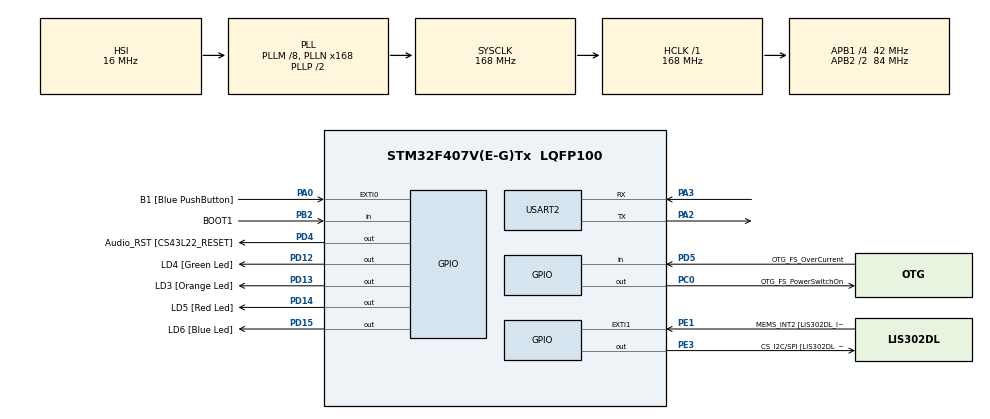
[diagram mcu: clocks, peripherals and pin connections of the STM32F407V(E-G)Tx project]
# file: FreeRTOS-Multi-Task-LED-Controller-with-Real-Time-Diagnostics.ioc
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Mcu.Family=STM32F4
Mcu.Name=STM32F407V(E-G)Tx
Mcu.Package=LQFP100
NVIC.PriorityGroup=NVIC_PRIORITYGROUP_4
NVIC.TIM6_DAC_IRQn=true\:0\:0\:false\:false\:true\:false\:true\:true
NVIC.TimeBase=TIM6_DAC_IRQn
NVIC.TimeBaseIP=TIM6
NVIC.USART2_IRQn=true\:6\:0\:true\:false\:true\:true\:true\:true
PA0-WKUP.GPIO_Label=B1 [Blue PushButton]
PA0-WKUP.Signal=GPXTI0
PA10.GPIO_Label=OTG_FS_ID
PA10.GPIO_Mode=GPIO_MODE_AF_PP
PA10.GPIO_PuPd=GPIO_NOPULL
PA10.GPIO_Speed=GPIO_SPEED_FREQ_LOW
PA10.Signal=USB_OTG_FS_ID
PA11.GPIO_Label=OTG_FS_DM
PA11.GPIO_Mode=GPIO_MODE_AF_PP
PA11.GPIO_PuPd=GPIO_NOPULL
PA11.GPIO_Speed=GPIO_SPEED_FREQ_LOW
PA11.Signal=USB_OTG_FS_DM
PA12.GPIO_Label=OTG_FS_DP
PA12.GPIO_Mode=GPIO_MODE_AF_PP
PA12.GPIO_PuPd=GPIO_NOPULL
PA12.GPIO_Speed=GPIO_SPEED_FREQ_LOW
PA12.Signal=USB_OTG_FS_DP
PA13.GPIO_Label=SWDIO
PA13.Signal=SYS_JTMS-SWDIO
PA14.GPIO_Label=SWCLK
PA14.Signal=SYS_JTCK-SWCLK
PA2.Mode=Asynchronous
PA2.Signal=USART2_TX
PA3.Mode=Asynchronous
PA3.Signal=USART2_RX
PA4.GPIO_Label=I2S3_WS [CS43L22_LRCK]
PA4.GPIO_Mode=GPIO_MODE_AF_PP
PA4.GPIO_PuPd=GPIO_NOPULL
PA4.GPIO_Speed=GPIO_SPEED_FREQ_LOW
PA4.Signal=I2S3_WS
PA5.GPIO_Label=SPI1_SCK [LIS302DL_SCL/SPC]
PA5.GPIO_Mode=GPIO_MODE_AF_PP
PA5.GPIO_PuPd=GPIO_NOPULL
PA5.GPIO_Speed=GPIO_SPEED_FREQ_LOW
PA5.Signal=SPI1_SCK
PA6.GPIO_Label=SPI1_MISO [LIS302DL_SDO]
PA6.GPIO_Mode=GPIO_MODE_AF_PP
PA6.GPIO_PuPd=GPIO_NOPULL
PA6.GPIO_Speed=GPIO_SPEED_FREQ_LOW
PA6.Signal=SPI1_MISO
PA7.GPIO_Label=SPI1_MOSI [LIS302DL_SDA/SDI/SDO]
PA7.GPIO_Mode=GPIO_MODE_AF_PP
PA7.GPIO_PuPd=GPIO_NOPULL
PA7.GPIO_Speed=GPIO_SPEED_FREQ_LOW
PA7.Signal=SPI1_MOSI
PA9.GPIO_Label=VBUS_FS
PA9.GPIO_Mode=GPIO_MODE_INPUT
PA9.GPIO_PuPd=GPIO_NOPULL
PA9.Signal=USB_OTG_FS_VBUS
PB10.GPIO_Label=CLK_IN [MP45DT02_CLK]
PB10.GPIO_Mode=GPIO_MODE_AF_PP
PB10.GPIO_PuPd=GPIO_NOPULL
PB10.GPIO_Speed=GPIO_SPEED_FREQ_LOW
PB10.Signal=I2S2_CK
PB2.GPIO_Label=BOOT1
PB2.GPIO_Mode=GPIO_MODE_INPUT
PB2.GPIO_PuPd=GPIO_NOPULL
PB2.Signal=GPIO_Input
PB3.GPIO_Label=SWO
PB3.Signal=SYS_JTDO-SWO
PB6.GPIO_Label=Audio_SCL [CS43L22_SCL]
PB6.GPIO_Mode=GPIO_MODE_AF_OD
PB6.GPIO_PuPd=GPIO_NOPULL
PB6.GPIO_Speed=GPIO_SPEED_FREQ_LOW
PB6.Signal=I2C1_SCL
PB9.GPIO_Label=Audio_SDA [CS43L22_SDA]
PB9.GPIO_Mode=GPIO_MODE_AF_OD
PB9.GPIO_PuPd=GPIO_NOPULL
PB9.GPIO_Speed=GPIO_SPEED_FREQ_LOW
PB9.Signal=I2C1_SDA
PC0.GPIO_Label=OTG_FS_PowerSwitchOn
PC0.GPIO_PuPd=GPIO_NOPULL
PC0.GPIO_Speed=GPIO_SPEED_FREQ_LOW
PC0.PinState=GPIO_PIN_SET
PC0.Signal=GPIO_Output
PC10.GPIO_Label=I2S3_SCK [CS43L22_SCLK]
PC10.GPIO_Mode=GPIO_MODE_AF_PP
PC10.GPIO_PuPd=GPIO_NOPULL
PC10.GPIO_Speed=GPIO_SPEED_FREQ_LOW
PC10.Signal=I2S3_CK
PC12.GPIO_Label=I2S3_SD [CS43L22_SDIN]
PC12.GPIO_Mode=GPIO_MODE_AF_PP
PC12.GPIO_PuPd=GPIO_NOPULL
PC12.GPIO_Speed=GPIO_SPEED_FREQ_LOW
PC12.Signal=I2S3_SD
PC14-OSC32_IN.GPIO_Label=PC14-OSC32_IN
PC14-OSC32_IN.Signal=RCC_OSC32_IN
PC15-OSC32_OUT.GPIO_Label=PC15-OSC32_OUT
PC15-OSC32_OUT.Signal=RCC_OSC32_OUT
PC3.GPIO_Label=PDM_OUT [MP45DT02_DOUT]
PC3.GPIO_Mode=GPIO_MODE_AF_PP
PC3.GPIO_PuPd=GPIO_NOPULL
PC3.GPIO_Speed=GPIO_SPEED_FREQ_LOW
PC3.Signal=I2S2_SD
PC7.GPIO_Label=I2S3_MCK [CS43L22_MCLK]
PC7.GPIO_Mode=GPIO_MODE_AF_PP
PC7.GPIO_PuPd=GPIO_NOPULL
PC7.GPIO_Speed=GPIO_SPEED_FREQ_LOW
PC7.Signal=I2S3_MCK
PD12.GPIO_Label=LD4 [Green Led]
PD12.GPIO_PuPd=GPIO_NOPULL
PD12.GPIO_Speed=GPIO_SPEED_FREQ_LOW
PD12.Signal=GPIO_Output
PD13.GPIO_Label=LD3 [Orange Led]
PD13.GPIO_PuPd=GPIO_NOPULL
PD13.GPIO_Speed=GPIO_SPEED_FREQ_LOW
PD13.Signal=GPIO_Output
PD14.GPIO_Label=LD5 [Red Led]
PD14.GPIO_PuPd=GPIO_NOPULL
PD14.GPIO_Speed=GPIO_SPEED_FREQ_LOW
PD14.Signal=GPIO_Output
PD15.GPIO_Label=LD6 [Blue Led]
PD15.GPIO_PuPd=GPIO_NOPULL
PD15.GPIO_Speed=GPIO_SPEED_FREQ_LOW
PD15.Signal=GPIO_Output
PD4.GPIO_Label=Audio_RST [CS43L22_RESET]
PD4.GPIO_PuPd=GPIO_NOPULL
PD4.GPIO_Speed=GPIO_SPEED_FREQ_LOW
PD4.Signal=GPIO_Output
PD5.GPIO_Label=OTG_FS_OverCurrent
PD5.GPIO_Mode=GPIO_MODE_INPUT
PD5.GPIO_PuPd=GPIO_NOPULL
PD5.Signal=GPIO_Input
PE1.GPIO_Label=MEMS_INT2 [LIS302DL_INT2]
PE1.GPIO_ModeDefaultEXTI=GPIO_MODE_EVT_RISING
PE1.GPIO_PuPd=GPIO_NOPULL
PE1.Signal=GPXTI1
PE3.GPIO_Label=CS_I2C/SPI [LIS302DL_CS_I2C/SPI]
PE3.GPIO_PuPd=GPIO_NOPULL
PE3.GPIO_Speed=GPIO_SPEED_FREQ_LOW
PE3.Signal=GPIO_Output
PH0-OSC_IN.GPIO_Label=PH0-OSC_IN
PH0-OSC_IN.Signal=RCC_OSC_IN
PH1-OSC_OUT.GPIO_Label=PH1-OSC_OUT
PH1-OSC_OUT.Signal=RCC_OSC_OUT
ProjectManager.HeapSize=0x200
ProjectManager.StackSize=0x400
ProjectManager.TargetToolchain=STM32CubeIDE
RCC.48MHZClocksFreq_Value=48000000
RCC.AHBFreq_Value=168000000
RCC.APB1CLKDivider=RCC_HCLK_DIV4
RCC.APB1Freq_Value=42000000
RCC.APB1TimFreq_Value=84000000
RCC.APB2CLKDivider=RCC_HCLK_DIV2
RCC.APB2Freq_Value=84000000
RCC.APB2TimFreq_Value=168000000
RCC.CortexFreq_Value=168000000
RCC.HCLKFreq_Value=168000000
RCC.HSE_VALUE=8000000
RCC.HSI_VALUE=16000000
RCC.LSE_VALUE=32768
RCC.PLLM=8
RCC.PLLN=168
RCC.PLLQ=7
RCC.SYSCLKFreq_VALUE=168000000
RCC.SYSCLKSource=RCC_SYSCLKSOURCE_PLLCLK
RCC.VCOOutputFreq_Value=336000000
RTC.HourFormat=RTC_HOURFORMAT_12
TIM2.Prescaler=479
USART2.VirtualMode=VM_ASYNC
VP_RTC_VS_RTC_Activate.Mode=RTC_Enabled
VP_SYS_VS_tim6.Mode=TIM6
VP_TIM2_VS_ClockSourceINT.Mode=Internal
board=STM32F407G-DISC1

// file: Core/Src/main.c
/* USER CODE BEGIN Header */
/**
  ******************************************************************************
  * @file           : main.c
  * @brief          : Main program body
  ******************************************************************************
  * @attention
  *
  * Copyright (c) 2026 STMicroelectronics.
  * All rights reserved.
  *
  * This software is licensed under terms that can be found in the LICENSE file
  * in the root directory of this software component.
  * If no LICENSE file comes with this software, it is provided AS-IS.
  *
  ******************************************************************************
  */
/* USER CODE END Header */
#include "main.h"

/* USER CODE BEGIN PM */
//#define DWT_CTRL *(volatile uint32_t *)0xE0001000
#define DWT_CTRL    *(volatile uint32_t *)0xE0001000
#define DWT_CYCCNT  *(volatile uint32_t *)0xE0001004
#define DWT_DEMCR   *(volatile uint32_t *)0xE000EDFC
/* USER CODE END PM */

RTC_HandleTypeDef hrtc;

TIM_HandleTypeDef htim2;

UART_HandleTypeDef huart2;

/* USER CODE BEGIN PV */
TaskHandle_t emergency_task;
TaskHandle_t task1;
TaskHandle_t task2;
TaskHandle_t task3;
TaskHandle_t cmd_task;
TaskHandle_t rtc_task;
TaskHandle_t led_task;
QueueHandle_t q_data;
SemaphoreHandle_t binary_sem;
SemaphoreHandle_t mutex;
SemaphoreHandle_t active_lock;
uint8_t rx_byte;
volatile uint32_t shared_counter;
volatile uint8_t use_mutex = -1;
volatile uint8_t inversion_active;
//software timer handles
TimerHandle_t  handle_led_timer[4];
TimerHandle_t rtc_timer;
Mode_t curr_state = MODE_NONE;
delay_period xTimeInMs;
/* USER CODE END PV */

void SystemClock_Config(void);
static void MX_GPIO_Init(void);
static void MX_RTC_Init(void);
static void MX_USART2_UART_Init(void);
static void MX_TIM2_Init(void);
/* USER CODE BEGIN PFP */
void vApplicationStackOverflowHook(
    TaskHandle_t xTask,
    char *pcTaskName
);
void set_default_time_period();
/* USER CODE END PFP */

int main(void)
{

  /* MCU Configuration--------------------------------------------------------*/

  /* Reset of all peripherals, Initializes the Flash interface and the Systick. */
  HAL_Init();

  /* Configure the system clock */
  SystemClock_Config();

  /* Initialize all configured peripherals */
  MX_GPIO_Init();
  MX_RTC_Init();
  MX_USART2_UART_Init();
  MX_TIM2_Init();
  /* USER CODE BEGIN 2 */
  //DWT_CTRL |= (1 << 0);//enable the cyccnt

//  CoreDebug->DEMCR |= CoreDebug_DEMCR_TRCENA_Msk;  // Enable DWT unit
//  DWT->CYCCNT = 0;                                   // Reset counter
/*
  DWT_DEMCR  |= (1 << 24);  // Enable trace units
  DWT_CYCCNT  = 0;           // Reset cycle counter
  DWT_CTRL |= (1 << 0);

  SEGGER_SYSVIEW_Conf();
  SEGGER_UART_init(500000);
  SEGGER_SYSVIEW_Start();
*/
  setvbuf(stdout, NULL, _IONBF, 0);   // no buffering on stdout
  q_data = xQueueCreate(25, sizeof(uint8_t));
  configASSERT(q_data != NULL);

  /* Attempt to create a semaphore. */
  binary_sem = xSemaphoreCreateBinary();
  configASSERT(binary_sem != NULL);

  mutex = xSemaphoreCreateMutex();
  configASSERT(mutex != NULL);

  xSemaphoreGive(binary_sem);
  xSemaphoreGive(mutex);

  BaseType_t ret = -1;
  set_default_time_period();
  ret = xTaskCreate(emergency_task_handler, "emergency_task", configMINIMAL_STACK_SIZE, NULL, 4, &emergency_task);
  configASSERT(ret == pdPASS);
  ret = xTaskCreate(task1_handler, "task1", configMINIMAL_STACK_SIZE, NULL, 3, &task1);
  configASSERT(ret == pdPASS);
  ret = xTaskCreate(task2_handler, "task2", configMINIMAL_STACK_SIZE, NULL, 2, &task2);
  configASSERT(ret == pdPASS);
  ret = xTaskCreate(task3_handler, "task3", configMINIMAL_STACK_SIZE, NULL, 1, &task3);
  configASSERT(ret == pdPASS);

  ret = xTaskCreate(cmd_task_handler, "cmd_task", configMINIMAL_STACK_SIZE, NULL, 4, &cmd_task);
  configASSERT(ret == pdPASS);

  printf("=== RTOS LED Controller booting ===\r\n"
		  );
  printf(">");
  HAL_UART_Receive_IT(&huart2, &rx_byte, 1);
  HAL_TIM_Base_Start(&htim2);
  vTaskStartScheduler();
  /* USER CODE END 2 */

  /* Infinite loop */
  while (1)
  {

  }
}

void SystemClock_Config(void)
{
  RCC_OscInitTypeDef RCC_OscInitStruct = {0};
  RCC_ClkInitTypeDef RCC_ClkInitStruct = {0};

  /** Configure the main internal regulator output voltage
  */
  __HAL_RCC_PWR_CLK_ENABLE();
  __HAL_PWR_VOLTAGESCALING_CONFIG(PWR_REGULATOR_VOLTAGE_SCALE1);

  /** Initializes the RCC Oscillators according to the specified parameters
  * in the RCC_OscInitTypeDef structure.
  */
  RCC_OscInitStruct.OscillatorType = RCC_OSCILLATORTYPE_HSI|RCC_OSCILLATORTYPE_LSI;
  RCC_OscInitStruct.HSIState = RCC_HSI_ON;
  RCC_OscInitStruct.HSICalibrationValue = RCC_HSICALIBRATION_DEFAULT;
  RCC_OscInitStruct.LSIState = RCC_LSI_ON;
  RCC_OscInitStruct.PLL.PLLState = RCC_PLL_ON;
  RCC_OscInitStruct.PLL.PLLSource = RCC_PLLSOURCE_HSI;
  RCC_OscInitStruct.PLL.PLLM = 8;
  RCC_OscInitStruct.PLL.PLLN = 168;
  RCC_OscInitStruct.PLL.PLLP = RCC_PLLP_DIV2;
  RCC_OscInitStruct.PLL.PLLQ = 7;
  if (HAL_RCC_OscConfig(&RCC_OscInitStruct) != HAL_OK)
  {
    Error_Handler();
  }

  /** Initializes the CPU, AHB and APB buses clocks
  */
  RCC_ClkInitStruct.ClockType = RCC_CLOCKTYPE_HCLK|RCC_CLOCKTYPE_SYSCLK
                              |RCC_CLOCKTYPE_PCLK1|RCC_CLOCKTYPE_PCLK2;
  RCC_ClkInitStruct.SYSCLKSource = RCC_SYSCLKSOURCE_PLLCLK;
  RCC_ClkInitStruct.AHBCLKDivider = RCC_SYSCLK_DIV1;
  RCC_ClkInitStruct.APB1CLKDivider = RCC_HCLK_DIV4;
  RCC_ClkInitStruct.APB2CLKDivider = RCC_HCLK_DIV2;

  if (HAL_RCC_ClockConfig(&RCC_ClkInitStruct, FLASH_LATENCY_5) != HAL_OK)
  {
    Error_Handler();
  }
}

static void MX_RTC_Init(void)
{

  /** Initialize RTC Only
  */
  hrtc.Instance = RTC;
  hrtc.Init.HourFormat = RTC_HOURFORMAT_12;
  hrtc.Init.AsynchPrediv = 127;
  hrtc.Init.SynchPrediv = 255;
  hrtc.Init.OutPut = RTC_OUTPUT_DISABLE;
  hrtc.Init.OutPutPolarity = RTC_OUTPUT_POLARITY_HIGH;
  hrtc.Init.OutPutType = RTC_OUTPUT_TYPE_OPENDRAIN;
  if (HAL_RTC_Init(&hrtc) != HAL_OK)
  {
    Error_Handler();
  }

}

static void MX_TIM2_Init(void)
{

  TIM_ClockConfigTypeDef sClockSourceConfig = {0};
  TIM_MasterConfigTypeDef sMasterConfig = {0};

  htim2.Instance = TIM2;
  htim2.Init.Prescaler = 479;
  htim2.Init.CounterMode = TIM_COUNTERMODE_UP;
  htim2.Init.Period = 4294967295;
  htim2.Init.ClockDivision = TIM_CLOCKDIVISION_DIV1;
  htim2.Init.AutoReloadPreload = TIM_AUTORELOAD_PRELOAD_DISABLE;
  if (HAL_TIM_Base_Init(&htim2) != HAL_OK)
  {
    Error_Handler();
  }
  sClockSourceConfig.ClockSource = TIM_CLOCKSOURCE_INTERNAL;
  if (HAL_TIM_ConfigClockSource(&htim2, &sClockSourceConfig) != HAL_OK)
  {
    Error_Handler();
  }
  sMasterConfig.MasterOutputTrigger = TIM_TRGO_RESET;
  sMasterConfig.MasterSlaveMode = TIM_MASTERSLAVEMODE_DISABLE;
  if (HAL_TIMEx_MasterConfigSynchronization(&htim2, &sMasterConfig) != HAL_OK)
  {
    Error_Handler();
  }

}

static void MX_USART2_UART_Init(void)
{

  huart2.Instance = USART2;
  huart2.Init.BaudRate = 115200;
  huart2.Init.WordLength = UART_WORDLENGTH_8B;
  huart2.Init.StopBits = UART_STOPBITS_1;
  huart2.Init.Parity = UART_PARITY_NONE;
  huart2.Init.Mode = UART_MODE_TX_RX;
  huart2.Init.HwFlowCtl = UART_HWCONTROL_NONE;
  huart2.Init.OverSampling = UART_OVERSAMPLING_16;
  if (HAL_UART_Init(&huart2) != HAL_OK)
  {
    Error_Handler();
  }

}

static void MX_GPIO_Init(void)
{
  GPIO_InitTypeDef GPIO_InitStruct = {0};

  /* GPIO Ports Clock Enable */
  __HAL_RCC_GPIOE_CLK_ENABLE();
  __HAL_RCC_GPIOC_CLK_ENABLE();
  __HAL_RCC_GPIOH_CLK_ENABLE();
  __HAL_RCC_GPIOA_CLK_ENABLE();
  __HAL_RCC_GPIOB_CLK_ENABLE();
  __HAL_RCC_GPIOD_CLK_ENABLE();

  /*Configure GPIO pin Output Level */
  HAL_GPIO_WritePin(CS_I2C_SPI_GPIO_Port, CS_I2C_SPI_Pin, GPIO_PIN_RESET);

  /*Configure GPIO pin Output Level */
  HAL_GPIO_WritePin(OTG_FS_PowerSwitchOn_GPIO_Port, OTG_FS_PowerSwitchOn_Pin, GPIO_PIN_SET);

  /*Configure GPIO pin Output Level */
  HAL_GPIO_WritePin(GPIOD, LD4_Pin|LD3_Pin|LD5_Pin|LD6_Pin
                          |Audio_RST_Pin, GPIO_PIN_RESET);

  /*Configure GPIO pin : CS_I2C_SPI_Pin */
  GPIO_InitStruct.Pin = CS_I2C_SPI_Pin;
  GPIO_InitStruct.Mode = GPIO_MODE_OUTPUT_PP;
  GPIO_InitStruct.Pull = GPIO_NOPULL;
  GPIO_InitStruct.Speed = GPIO_SPEED_FREQ_LOW;
  HAL_GPIO_Init(CS_I2C_SPI_GPIO_Port, &GPIO_InitStruct);

  /*Configure GPIO pin : OTG_FS_PowerSwitchOn_Pin */
  GPIO_InitStruct.Pin = OTG_FS_PowerSwitchOn_Pin;
  GPIO_InitStruct.Mode = GPIO_MODE_OUTPUT_PP;
  GPIO_InitStruct.Pull = GPIO_NOPULL;
  GPIO_InitStruct.Speed = GPIO_SPEED_FREQ_LOW;
  HAL_GPIO_Init(OTG_FS_PowerSwitchOn_GPIO_Port, &GPIO_InitStruct);

  /*Configure GPIO pin : PDM_OUT_Pin */
  GPIO_InitStruct.Pin = PDM_OUT_Pin;
  GPIO_InitStruct.Mode = GPIO_MODE_AF_PP;
  GPIO_InitStruct.Pull = GPIO_NOPULL;
  GPIO_InitStruct.Speed = GPIO_SPEED_FREQ_LOW;
  GPIO_InitStruct.Alternate = GPIO_AF5_SPI2;
  HAL_GPIO_Init(PDM_OUT_GPIO_Port, &GPIO_InitStruct);

  /*Configure GPIO pin : B1_Pin */
  GPIO_InitStruct.Pin = B1_Pin;
  GPIO_InitStruct.Mode = GPIO_MODE_IT_RISING;
  GPIO_InitStruct.Pull = GPIO_NOPULL;
  HAL_GPIO_Init(B1_GPIO_Port, &GPIO_InitStruct);

  /*Configure GPIO pin : I2S3_WS_Pin */
  GPIO_InitStruct.Pin = I2S3_WS_Pin;
  GPIO_InitStruct.Mode = GPIO_MODE_AF_PP;
  GPIO_InitStruct.Pull = GPIO_NOPULL;
  GPIO_InitStruct.Speed = GPIO_SPEED_FREQ_LOW;
  GPIO_InitStruct.Alternate = GPIO_AF6_SPI3;
  HAL_GPIO_Init(I2S3_WS_GPIO_Port, &GPIO_InitStruct);

  /*Configure GPIO pins : SPI1_SCK_Pin SPI1_MISO_Pin SPI1_MOSI_Pin */
  GPIO_InitStruct.Pin = SPI1_SCK_Pin|SPI1_MISO_Pin|SPI1_MOSI_Pin;
  GPIO_InitStruct.Mode = GPIO_MODE_AF_PP;
  GPIO_InitStruct.Pull = GPIO_NOPULL;
  GPIO_InitStruct.Speed = GPIO_SPEED_FREQ_LOW;
  GPIO_InitStruct.Alternate = GPIO_AF5_SPI1;
  HAL_GPIO_Init(GPIOA, &GPIO_InitStruct);

  /*Configure GPIO pin : BOOT1_Pin */
  GPIO_InitStruct.Pin = BOOT1_Pin;
  GPIO_InitStruct.Mode = GPIO_MODE_INPUT;
  GPIO_InitStruct.Pull = GPIO_NOPULL;
  HAL_GPIO_Init(BOOT1_GPIO_Port, &GPIO_InitStruct);

  /*Configure GPIO pin : CLK_IN_Pin */
  GPIO_InitStruct.Pin = CLK_IN_Pin;
  GPIO_InitStruct.Mode = GPIO_MODE_AF_PP;
  GPIO_InitStruct.Pull = GPIO_NOPULL;
  GPIO_InitStruct.Speed = GPIO_SPEED_FREQ_LOW;
  GPIO_InitStruct.Alternate = GPIO_AF5_SPI2;
  HAL_GPIO_Init(CLK_IN_GPIO_Port, &GPIO_InitStruct);

  /*Configure GPIO pins : LD4_Pin LD3_Pin LD5_Pin LD6_Pin
                           Audio_RST_Pin */
  GPIO_InitStruct.Pin = LD4_Pin|LD3_Pin|LD5_Pin|LD6_Pin
                          |Audio_RST_Pin;
  GPIO_InitStruct.Mode = GPIO_MODE_OUTPUT_PP;
  GPIO_InitStruct.Pull = GPIO_NOPULL;
  GPIO_InitStruct.Speed = GPIO_SPEED_FREQ_LOW;
  HAL_GPIO_Init(GPIOD, &GPIO_InitStruct);

  /*Configure GPIO pins : I2S3_MCK_Pin I2S3_SCK_Pin I2S3_SD_Pin */
  GPIO_InitStruct.Pin = I2S3_MCK_Pin|I2S3_SCK_Pin|I2S3_SD_Pin;
  GPIO_InitStruct.Mode = GPIO_MODE_AF_PP;
  GPIO_InitStruct.Pull = GPIO_NOPULL;
  GPIO_InitStruct.Speed = GPIO_SPEED_FREQ_LOW;
  GPIO_InitStruct.Alternate = GPIO_AF6_SPI3;
  HAL_GPIO_Init(GPIOC, &GPIO_InitStruct);

  /*Configure GPIO pin : VBUS_FS_Pin */
  GPIO_InitStruct.Pin = VBUS_FS_Pin;
  GPIO_InitStruct.Mode = GPIO_MODE_INPUT;
  GPIO_InitStruct.Pull = GPIO_NOPULL;
  HAL_GPIO_Init(VBUS_FS_GPIO_Port, &GPIO_InitStruct);

  /*Configure GPIO pins : OTG_FS_ID_Pin OTG_FS_DM_Pin OTG_FS_DP_Pin */
  GPIO_InitStruct.Pin = OTG_FS_ID_Pin|OTG_FS_DM_Pin|OTG_FS_DP_Pin;
  GPIO_InitStruct.Mode = GPIO_MODE_AF_PP;
  GPIO_InitStruct.Pull = GPIO_NOPULL;
  GPIO_InitStruct.Speed = GPIO_SPEED_FREQ_LOW;
  GPIO_InitStruct.Alternate = GPIO_AF10_OTG_FS;
  HAL_GPIO_Init(GPIOA, &GPIO_InitStruct);

  /*Configure GPIO pin : OTG_FS_OverCurrent_Pin */
  GPIO_InitStruct.Pin = OTG_FS_OverCurrent_Pin;
  GPIO_InitStruct.Mode = GPIO_MODE_INPUT;
  GPIO_InitStruct.Pull = GPIO_NOPULL;
  HAL_GPIO_Init(OTG_FS_OverCurrent_GPIO_Port, &GPIO_InitStruct);

  /*Configure GPIO pins : Audio_SCL_Pin Audio_SDA_Pin */
  GPIO_InitStruct.Pin = Audio_SCL_Pin|Audio_SDA_Pin;
  GPIO_InitStruct.Mode = GPIO_MODE_AF_OD;
  GPIO_InitStruct.Pull = GPIO_NOPULL;
  GPIO_InitStruct.Speed = GPIO_SPEED_FREQ_LOW;
  GPIO_InitStruct.Alternate = GPIO_AF4_I2C1;
  HAL_GPIO_Init(GPIOB, &GPIO_InitStruct);

  /*Configure GPIO pin : MEMS_INT2_Pin */
  GPIO_InitStruct.Pin = MEMS_INT2_Pin;
  GPIO_InitStruct.Mode = GPIO_MODE_EVT_RISING;
  GPIO_InitStruct.Pull = GPIO_NOPULL;
  HAL_GPIO_Init(MEMS_INT2_GPIO_Port, &GPIO_InitStruct);

  /* USER CODE BEGIN MX_GPIO_Init_2 */
  HAL_NVIC_SetPriority(EXTI0_IRQn, 6, 0);
  HAL_NVIC_EnableIRQ(EXTI0_IRQn);
  /* USER CODE END MX_GPIO_Init_2 */
}

/* USER CODE BEGIN 4 */
/*void HAL_UART_RxCpltCallback(UART_HandleTypeDef *huart)
{
	unsigned char dummy;

	if (huart->Instance == USART2) {

	if(!xQueueIsQueueFullFromISR(q_data)TODO: check : is queue full ? )
	{
		Queue is not full

		TODO: Enqueue data byte
		xQueueSendFromISR(q_data, ( void * )&rx_byte, 0);

	}else{
		Queue is full

		if(rx_byte == '\n')
		{
			user_data = '\n'
			  Make sure last data byte of queue is '\n'
			xQueueReceiveFromISR(q_data, (void*)&dummy, NULL);  // overwrites user_data!
			xQueueSendFromISR(q_data, (void*)&rx_byte, NULL);
			TODO: make sure that last data byte of the queue is '\n'
		}
	}

	TODO: send notification to command handling task if user_data = '\n'
	if(rx_byte == '\n')
	{
		xTaskNotifyFromISR(cmd_task, 0, eNoAction, NULL);
	}

	 TODO: Enable UART data byte reception again in IT mode
	 HAL_UART_Receive_IT(&huart2, &rx_byte, 1);
	}
}*/

void HAL_UART_RxCpltCallback(UART_HandleTypeDef *huart)
{
	uint8_t dummy;

	if(! xQueueIsQueueFullFromISR(q_data))
	{
		/*Enqueue data byte */
		xQueueSendFromISR(q_data , (void*)&rx_byte , NULL);
	}else{
		if(rx_byte == '\r')
		{
			/*Make sure that last data byte of the queue is '\n' */
			xQueueReceiveFromISR(q_data,(void*)&dummy,NULL);
			xQueueSendFromISR(q_data ,(void*)&rx_byte , NULL);
		}
	}

	/*Send notification to command handling task if user_data = '\n' */
	if( rx_byte == '\r' ){
		/*send notification to command handling task */
		xTaskNotifyFromISR(cmd_task,0,eNoAction,NULL);
	}

	/* Enable UART data byte reception again in IT mode */
	 HAL_UART_Receive_IT(&huart2, (uint8_t*)&rx_byte, 1);

}

void led_effect_callback(TimerHandle_t xTimer)
{
//	 int id;
//	 id = ( uint32_t ) pvTimerGetTimerID( xTimer );
//
//	 switch(id)
//	 {
//	 case 1 :
//		 LED_effect1();
//		 break;
//	 case 2:
//		 LED_effect2();
//		 break;
//	 case 3:
//		 LED_effect3();
//		 break;
//	 case 4:
//		 LED_effect4();
//	 }

	;

}

void rtc_report_callback( TimerHandle_t xTimer )
{
	 ;//show_time_date_itm();

}

void vApplicationStackOverflowHook(TaskHandle_t xTask, char *pcTaskName)
{
    /* Option 1: Log and halt (recommended for debug) */
    printf("Stack overflow in task: %s\n", pcTaskName);
    taskDISABLE_INTERRUPTS();
    configASSERT(0);
}

void set_default_time_period()
{
	xTimeInMs.emerg_task = 250;
	xTimeInMs.task1 = 500;
	xTimeInMs.task2 = 1000;
	xTimeInMs.task3 = 1500;
}

/* USER CODE END 4 */

void HAL_TIM_PeriodElapsedCallback(TIM_HandleTypeDef *htim)
{
  if (htim->Instance == TIM6)
  {
    HAL_IncTick();
  }
}

void Error_Handler(void)
{
  __disable_irq();
  while (1)
  {
  }
}
